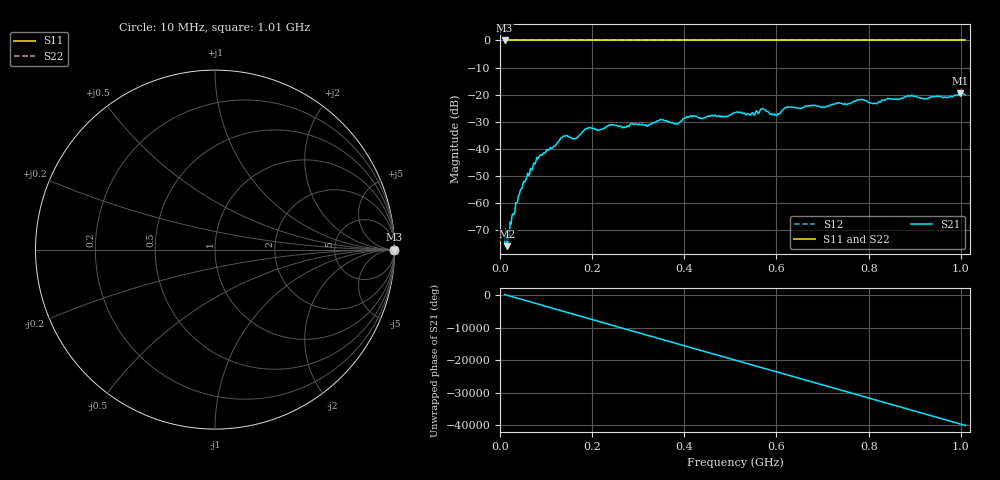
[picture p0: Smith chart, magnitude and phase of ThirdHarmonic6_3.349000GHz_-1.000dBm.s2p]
! 8/17/2025 10:34:04 AM
! C:\ANRITSUVNA\TEMP\TEMP.S2P
! CHANNEL.1
! TR.MEASUREMENT
! RAW.DATA
! RF.CORRECTION.OFF
! AVERAGING.OFF
! IF.BANDWIDTH: 5KHZ
! SWEEPTYPE:  FREQ.SWEEP(Linear)
! Reference Plane Port Info
! PORT:  PORT1  PORT2
! DISTANCE:  0  m  0  m
! TIME:  0  s  0  s
! PHASE.OFFSET:  0  deg.  0  deg.
! LOSS:  0  dB  0  dB
! REF.LOSS:  0  dB  0  dB
! REF.FREQ:  0  Hz  0  Hz
! Power Info
! POWER:  -20  dBm  -20  dBm
! EFF.POWER:  -20  dBm  -20  dBm
! SOURCE.ATTEN:  0  dB  0  dB
! TEST.ATTEN:  0  dB  0  dB
# GHZ S RI R 50.0
! FREQ.GHZ  S11RE  S11IM  S21RE  S21IM  S12RE  S12IM  S22RE  S22IM
!; PortSelection: Port_12
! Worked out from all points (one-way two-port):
!   501 points, 10 MHz to 1.01 GHz, reference 50 ohm
!   highest |S21| = -19.57 dB at 998 MHz (marker M1); lowest = -75.9 dB at 16 MHz (marker M2)
!   lowest |S11| = 0.0 dB at 10 MHz (marker M3)
!   |S11| at or under -10 dB: nowhere
!   |S22| runs from 0.0 to 0.0 dB; largest |S21 - S12| = 1.1
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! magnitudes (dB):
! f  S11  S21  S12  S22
! 10 MHz  0.0  -75.2  0.0  0.0
! 16 MHz  0.0  -75.9  0.0  0.0
! 48 MHz  0.0  -54.5  0.0  0.0
! 84 MHz  0.0  -42.9  0.0  0.0
! 136 MHz  0.0  -35.7  0.0  0.0
! 162 MHz  0.0  -36.2  0.0  0.0
! 178 MHz  0.0  -33.9  0.0  0.0
! 194 MHz  0.0  -32.1  0.0  0.0
! 344 MHz  0.0  -29.7  0.0  0.0
! 382 MHz  0.0  -30.7  0.0  0.0
! 410 MHz  0.0  -28.3  0.0  0.0
! 510 MHz  0.0  -26.7  0.0  0.0
! 548 MHz  0.0  -26.6  0.0  0.0
! 570 MHz  0.0  -25.1  0.0  0.0
! 596 MHz  0.0  -27.2  0.0  0.0
! 622 MHz  0.0  -24.6  0.0  0.0
! 678 MHz  0.0  -24.0  0.0  0.0
! 782 MHz  0.0  -21.8  0.0  0.0
! 814 MHz  0.0  -23.2  0.0  0.0
! 844 MHz  0.0  -21.5  0.0  0.0
! 998 MHz  0.0  -19.6  0.0  0.0
! 1.01 GHz  0.0  -20.2  0.0  0.0
